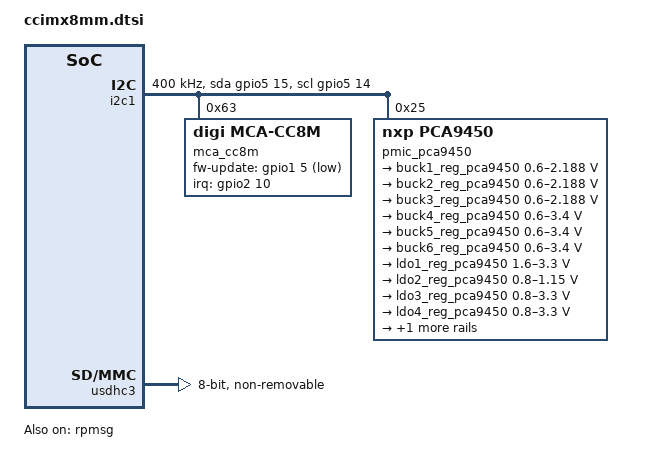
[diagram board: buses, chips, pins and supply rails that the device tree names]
/*
 * Copyright 2021, Digi International Inc.
 *
 * Permission to use, copy, modify, and/or distribute this software for any
 * purpose with or without fee is hereby granted, provided that the above
 * copyright notice and this permission notice appear in all copies.
 * THE SOFTWARE IS PROVIDED "AS IS" AND THE AUTHOR DISCLAIMS ALL WARRANTIES
 * WITH REGARD TO THIS SOFTWARE INCLUDING ALL IMPLIED WARRANTIES OF
 * MERCHANTABILITY AND FITNESS. IN NO EVENT SHALL THE AUTHOR BE LIABLE FOR
 * ANY SPECIAL, DIRECT, INDIRECT, OR CONSEQUENTIAL DAMAGES OR ANY DAMAGES
 * WHATSOEVER RESULTING FROM LOSS OF USE, DATA OR PROFITS, WHETHER IN AN
 * ACTION OF CONTRACT, NEGLIGENCE OR OTHER TORTIOUS ACTION, ARISING OUT OF
 * OR IN CONNECTION WITH THE USE OR PERFORMANCE OF THIS SOFTWARE.
 */

/ {
	aliases {
		i2c1 = &i2c1;
		i2c2 = &i2c2;
		i2c3 = &i2c3;
		i2c4 = &i2c4;
		mmc0 = &usdhc3;
		mmc1 = &usdhc2;
		mmc2 = &usdhc1;
	};

	/* Bluetooth, disabled by default */
	bluetooth: bluetooth {
		/* U-Boot will fill in the MAC address here */
		compatible = "digi,bluetooth-cc8x";
		vin-supply = <&reg_rf_bt_en>;
		status = "disabled";
	};

	caam_keyblob: caam-keyblob {
		compatible = "fsl,sec-v4.0-keyblob";
	};

	/* Wifi/Bluetooth regulators, disabled by default */
	regulators {
		compatible = "simple-bus";
		#address-cells = <1>;
		#size-cells = <0>;

		reg_3v3_rf: regulator-som@1 {
			compatible = "regulator-fixed";
			reg = <1>;
			pinctrl-names = "default";
			pinctrl-0 = <&pinctrl_reg_3v3_rf>;
			regulator-name = "3v3_rf";
			regulator-min-microvolt = <3300000>;
			regulator-max-microvolt = <3300000>;
			gpio = <&gpio2 6 GPIO_ACTIVE_HIGH>; /* 3V3_RF_EN */
			enable-active-high;
			startup-delay-us = <100000>;
			status = "disabled";
		};

		reg_rf_wl_en: regulator-som@2 {
			compatible = "regulator-fixed";
			reg = <2>;
			pinctrl-names = "default", "sleep";
			pinctrl-0 = <&pinctrl_reg_rf_wl_en>;
			pinctrl-1 = <&pinctrl_reg_rf_wl_en_sleep>;
			regulator-name = "rf_wl_en";
			regulator-min-microvolt = <3300000>;
			regulator-max-microvolt = <3300000>;
			gpio = <&gpio2 9 GPIO_ACTIVE_HIGH>; /* WL_EN */
			enable-active-high;
			startup-delay-us = <100>;
			vin-supply = <&reg_3v3_rf>;
			status = "disabled";
		};

		reg_rf_bt_en: regulator-som@3 {
			compatible = "regulator-fixed";
			reg = <3>;
			pinctrl-names = "default", "sleep";
			pinctrl-0 = <&pinctrl_reg_rf_bt_en>;
			pinctrl-1 = <&pinctrl_reg_rf_bt_en_sleep>;
			regulator-name = "rf_bt_en";
			regulator-min-microvolt = <3300000>;
			regulator-max-microvolt = <3300000>;
			gpio = <&gpio2 8 GPIO_ACTIVE_HIGH>; /* BT_EN */
			enable-active-high;
			startup-delay-us = <100>;
			vin-supply = <&reg_3v3_rf>;
			status = "disabled";
		};
	};

	reserved-memory {
		linux,cma {
			digi,size-table = <
				/* RAM         CMA*/
				0 0x20000000 0 0x6000000	/* 512 MB variants -> 96 MB of CMA */
				0 0x40000000 0 0x14000000	/* 1 GB variants   -> 320 MB of CMA */
				0 0x80000000 0 0x28000000	/* 2 GB variants   -> 640 MB of CMA */
			>;
		};
	};
};

&A53_0 {
	arm-supply = <&buck2_reg_pca9450>;
};

/* I2C1 connected to MCA, PMIC and crypto chip */
&i2c1 {
	assigned-clock-rates = <48000000>;
	clock-frequency = <400000>;
	digi,buffer-time-us = <35>;
	pinctrl-names = "default", "gpio";
	pinctrl-0 = <&pinctrl_i2c1>;
	pinctrl-1 = <&pinctrl_i2c1_gpio>;
	scl-gpios = <&gpio5 14 GPIO_ACTIVE_HIGH>;
	sda-gpios = <&gpio5 15 GPIO_ACTIVE_HIGH>;
	status = "okay";

	mca_cc8m: mca@63 {
		compatible = "digi,mca-cc8m";
		reg = <0x63>;
		interrupt-parent = <&gpio2>;
		interrupts = <10 IRQ_TYPE_LEVEL_HIGH>;
		interrupt-controller;
		#interrupt-cells = <2>;
		fw-update-gpio = <&gpio1 5 GPIO_ACTIVE_LOW>;
		pinctrl-names = "default";
		pinctrl-0 = <&pinctrl_mca_cc8m>;

		mca_adc: adc {
			compatible = "digi,mca-cc8m-adc";
			digi,adc-vref = <3000000>;
		};

		mca_gpio: gpio {
			compatible = "digi,mca-cc8m-gpio";
			gpio-controller;
			#gpio-cells = <2>;

			interrupt-parent = <&mca_cc8m>;
			interrupt-controller;
			#interrupt-cells = <2>;

			/* Disable all mca GPIOs as power off wake up sources */
			pwroff-wakeup-capable-ios = <>;
		};

		pwrkey {
			compatible = "digi,mca-cc8m-pwrkey";
			digi,key-power;
			digi,key-power-up;
			digi,key-sleep;
			digi,debounce-ms = <100>;
			digi,pwroff-delay-sec = <6>;
			digi,pwroff-guard-sec = <30>;
		};

		rtc {
			compatible = "digi,mca-cc8m-rtc";
		};

		wdt {
			compatible = "digi,mca-cc8m-wdt";
			digi,full-reset;
		};

		gpio_wdt: gpio-wdt {
			compatible = "digi,mca-cc8m-gpio-wdt";
			status = "disabled";

			gpio_wdt0: gpio-wdt@0x210 {
				status = "disabled";
			};

			gpio_wdt1: gpio-wdt@0x220 {
				status = "disabled";
			};

			gpio_wdt2: gpio-wdt@0x230 {
				status = "disabled";
			};

			gpio_wdt3: gpio-wdt@0x240 {
				status = "disabled";
			};
		};

		pwms {
			compatible = "digi,mca-pwm";
			#address-cells = <1>;
			#size-cells = <0>;

			mca_pwm0: pwm@0 {
				reg = <0>;
				pwm-channels = <6>;
				#pwm-cells = <3>;
			};
		};

		mca_tamper: tamper {
			compatible = "digi,mca-cc8m-tamper";
		};

		mca_uart: uart {
			compatible = "digi,mca-cc8m-uart";
			#address-cells = <1>;
			#size-cells = <0>;
			status = "disabled";

			mca_uart0: serial@0x900 {
				reg = <0x900>;
				index = <0>;
				status = "disabled";
			};

			mca_uart1: serial@0x920 {
				reg = <0x920>;
				index = <1>;
				status = "disabled";
			};

			mca_uart2: serial@0x940 {
				reg = <0x940>;
				index = <2>;
				status = "disabled";
			};
		};

		mca_keypad: keypad {
			compatible = "digi,mca-keypad";
			status = "disabled";
		};

		mca_led: led {
			compatible = "digi,mca-led";
			status = "disabled";
		};
	};

	/* NXP PCA9450 PMIC */
	pmic_pca9450: pca9450@25 {
		reg = <0x25>;
		compatible = "nxp,pca9450";
		status = "okay";

		pca9450,pmic-buck1-uses-i2c-dvs;
		/* Run/Standby voltage */
		pca9450,pmic-buck1-dvs-voltage = <950000>, <850000>;

		regulators {
			#address-cells = <1>;
			#size-cells = <0>;

			buck1_reg_pca9450: regulator@0 {
				reg = <0>;
				regulator-compatible = "buck1";
				regulator-min-microvolt = <600000>;
				regulator-max-microvolt = <2187500>;
				regulator-boot-on;
				regulator-always-on;
				regulator-ramp-delay = <3125>;
			};

			buck2_reg_pca9450: regulator@1 {
				reg = <1>;
				regulator-compatible = "buck2";
				regulator-min-microvolt = <600000>;
				regulator-max-microvolt = <2187500>;
				regulator-boot-on;
				regulator-always-on;
				regulator-ramp-delay = <3125>;
				regulator-state-mem {
					regulator-off-in-suspend;
				};
			};

			buck3_reg_pca9450: regulator@2 {
				reg = <2>;
				regulator-compatible = "buck3";
				regulator-min-microvolt = <600000>;
				regulator-max-microvolt = <2187500>;
				regulator-boot-on;
				regulator-always-on;
				regulator-state-mem {
					regulator-off-in-suspend;
				};
			};

			buck4_reg_pca9450: regulator@3 {
				reg = <3>;
				regulator-compatible = "buck4";
				regulator-min-microvolt = <600000>;
				regulator-max-microvolt = <3400000>;
				regulator-boot-on;
				regulator-always-on;
			};

			buck5_reg_pca9450: regulator@4 {
				reg = <4>;
				regulator-compatible = "buck5";
				regulator-min-microvolt = <600000>;
				regulator-max-microvolt = <3400000>;
				regulator-boot-on;
				regulator-always-on;
			};

			buck6_reg_pca9450: regulator@5 {
				reg = <5>;
				regulator-compatible = "buck6";
				regulator-min-microvolt = <600000>;
				regulator-max-microvolt = <3400000>;
				regulator-boot-on;
				regulator-always-on;
			};

			ldo1_reg_pca9450: regulator@6 {
				reg = <6>;
				regulator-compatible = "ldo1";
				regulator-min-microvolt = <1600000>;
				regulator-max-microvolt = <3300000>;
				regulator-boot-on;
				regulator-always-on;
			};

			ldo2_reg_pca9450: regulator@7 {
				reg = <7>;
				regulator-compatible = "ldo2";
				regulator-min-microvolt = <800000>;
				regulator-max-microvolt = <1150000>;
				regulator-boot-on;
				regulator-always-on;
			};

			ldo3_reg_pca9450: regulator@8 {
				reg = <8>;
				regulator-compatible = "ldo3";
				regulator-min-microvolt = <800000>;
				regulator-max-microvolt = <3300000>;
				regulator-boot-on;
				regulator-always-on;
				regulator-state-mem {
					regulator-off-in-suspend;
				};
			};

			ldo4_reg_pca9450: regulator@9 {
				reg = <9>;
				regulator-compatible = "ldo4";
				regulator-min-microvolt = <800000>;
				regulator-max-microvolt = <3300000>;
				regulator-boot-on;
				regulator-always-on;
				regulator-state-mem {
					regulator-off-in-suspend;
				};
			};

			ldo5_reg_pca9450: regulator@10 {
				reg = <10>;
				regulator-compatible = "ldo5";
				regulator-min-microvolt = <1800000>;
				regulator-max-microvolt = <3300000>;
			};
		};
	};
};

&ocotp {
	/* By default, make the OTP bits read-only */
	read-only;
};

&rpmsg{
	/*
	 * 64K for one rpmsg instance:
	 * --0xb8000000~0xb800ffff: pingpong
	 */
	vdev-nums = <1>;
	reg = <0x0 0xb8000000 0x0 0x10000>;
	status = "okay";
};

/* Disable CPU RTC */
&snvs_rtc {
	status = "disabled";
};

/* Disable CPU power key */
&snvs_pwrkey {
	status = "disabled";
};

/* UART2 (Bluetooth), disabled by default */
&uart2 {
	pinctrl-names = "default", "sleep";
	pinctrl-0 = <&pinctrl_uart2>;
	pinctrl-1 = <&pinctrl_uart2_sleep>;
	assigned-clocks = <&clk IMX8MM_CLK_UART2>;
	assigned-clock-parents = <&clk IMX8MM_SYS_PLL1_80M>;
	fsl,uart-has-rtscts;
	status = "disabled";
};

/* USDHC1 (Wireless), disabled by default */
&usdhc1 {
	pinctrl-names = "default", "state_100mhz", "state_200mhz", "sleep";
	pinctrl-0 = <&pinctrl_usdhc1>;
	pinctrl-1 = <&pinctrl_usdhc1_100mhz>;
	pinctrl-2 = <&pinctrl_usdhc1_200mhz>;
	pinctrl-3 = <&pinctrl_usdhc1_sleep>;
	non-removable;
	bus-width = <4>;
	vmmc-supply = <&reg_rf_wl_en>;
	status = "disabled";
};

/* eMMC */
&usdhc3 {
	pinctrl-names = "default", "state_100mhz", "state_200mhz";
	pinctrl-0 = <&pinctrl_usdhc3>;
	pinctrl-1 = <&pinctrl_usdhc3_100mhz>;
	pinctrl-2 = <&pinctrl_usdhc3_200mhz>;
	bus-width = <8>;
	non-removable;
	status = "okay";
};

/* IOMUX */
&iomuxc {
	/* Internal I2C (MCA, Crypto chip) */
	pinctrl_i2c1: i2c1grp {
		fsl,pins = <
			MX8MM_IOMUXC_I2C1_SCL_I2C1_SCL			0x400001c3
			MX8MM_IOMUXC_I2C1_SDA_I2C1_SDA			0x400001c3
		>;
	};

	pinctrl_i2c1_gpio: i2c1grp-gpio {
		fsl,pins = <
			MX8MM_IOMUXC_I2C1_SCL_GPIO5_IO14		0x1c3
			MX8MM_IOMUXC_I2C1_SDA_GPIO5_IO15		0x1c3
		>;
	};

	/* MCA pinctrl */
	pinctrl_mca_cc8m: mcagrp {
		fsl,pins = <
			/* MCA_nINT */
			MX8MM_IOMUXC_SD1_RESET_B_GPIO2_IO10	0x56
			/* MCA_FW_UPDATE */
			MX8MM_IOMUXC_GPIO1_IO05_GPIO1_IO5	0x16
		>;
	};

	/* 3V3_RF regulator pinctrl */
	pinctrl_reg_3v3_rf: reg_3v3_rf_grp {
		fsl,pins = <
			/* Voltage for RF domain (3V3_RF_EN) */
			MX8MM_IOMUXC_SD1_DATA4_GPIO2_IO6		0x41
		>;
	};

	pinctrl_reg_rf_wl_en: reg_rf_wl_en_grp {
		fsl,pins = <
			/* Wireless enable (WL_EN) */
			MX8MM_IOMUXC_SD1_DATA7_GPIO2_IO9		0x41
		>;
	};

	pinctrl_reg_rf_wl_en_sleep: reg_rf_wl_en_grp_sleep {
		fsl,pins = <
			/* Wireless enable (WL_EN) Open drain */
			MX8MM_IOMUXC_SD1_DATA7_GPIO2_IO9		0x21
		>;
	};

	pinctrl_reg_rf_bt_en: reg_rf_bt_en_grp {
		fsl,pins = <
			/* Bluetooth enable (BT_EN) */
			MX8MM_IOMUXC_SD1_DATA6_GPIO2_IO8		0x41
		>;
	};

	pinctrl_reg_rf_bt_en_sleep: reg_rf_bt_en_grp_sleep {
		fsl,pins = <
			/* Bluetooth enable (BT_EN) Open drain */
			MX8MM_IOMUXC_SD1_DATA6_GPIO2_IO8		0x21
		>;
	};

	/* UART2 (Bluetooth) */
	pinctrl_uart2: uart2grp {
		fsl,pins = <
			MX8MM_IOMUXC_SAI3_TXC_UART2_DCE_TX		0x140
			MX8MM_IOMUXC_SAI3_TXFS_UART2_DCE_RX		0x140
			MX8MM_IOMUXC_SAI3_RXD_UART2_DCE_RTS_B	0x140
			MX8MM_IOMUXC_SAI3_RXC_UART2_DCE_CTS_B	0x140
		>;
	};

	pinctrl_uart2_sleep: uart2grp_sleep {
		fsl,pins = <
			MX8MM_IOMUXC_SAI3_TXC_GPIO5_IO0		0x020
			MX8MM_IOMUXC_SAI3_TXFS_GPIO4_IO31		0x020
			MX8MM_IOMUXC_SAI3_RXD_GPIO4_IO30	0x020
			MX8MM_IOMUXC_SAI3_RXC_GPIO4_IO29	0x020
		>;
	};

	/* USDHC1 (Wireless) */
	pinctrl_usdhc1: usdhc1grp {
		fsl,pins = <
			MX8MM_IOMUXC_SD1_CLK_USDHC1_CLK		0x190
			MX8MM_IOMUXC_SD1_CMD_USDHC1_CMD		0x1d0
			MX8MM_IOMUXC_SD1_DATA0_USDHC1_DATA0	0x1d0
			MX8MM_IOMUXC_SD1_DATA1_USDHC1_DATA1	0x1d0
			MX8MM_IOMUXC_SD1_DATA2_USDHC1_DATA2	0x1d0
			MX8MM_IOMUXC_SD1_DATA3_USDHC1_DATA3	0x1d0
		>;
	};

	pinctrl_usdhc1_100mhz: usdhc1grp100mhz {
		fsl,pins = <
			MX8MM_IOMUXC_SD1_CLK_USDHC1_CLK		0x194
			MX8MM_IOMUXC_SD1_CMD_USDHC1_CMD		0x1d4
			MX8MM_IOMUXC_SD1_DATA0_USDHC1_DATA0	0x1d4
			MX8MM_IOMUXC_SD1_DATA1_USDHC1_DATA1	0x1d4
			MX8MM_IOMUXC_SD1_DATA2_USDHC1_DATA2	0x1d4
			MX8MM_IOMUXC_SD1_DATA3_USDHC1_DATA3	0x1d4
		>;
	};

	pinctrl_usdhc1_200mhz: usdhc1grp200mhz {
		fsl,pins = <
			MX8MM_IOMUXC_SD1_CLK_USDHC1_CLK		0x196
			MX8MM_IOMUXC_SD1_CMD_USDHC1_CMD		0x1d6
			MX8MM_IOMUXC_SD1_DATA0_USDHC1_DATA0	0x1d6
			MX8MM_IOMUXC_SD1_DATA1_USDHC1_DATA1	0x1d6
			MX8MM_IOMUXC_SD1_DATA2_USDHC1_DATA2	0x1d6
			MX8MM_IOMUXC_SD1_DATA3_USDHC1_DATA3	0x1d6
		>;
	};

	pinctrl_usdhc1_sleep: usdhc1grp_sleep {
		fsl,pins = <
			MX8MM_IOMUXC_SD1_CLK_GPIO2_IO0		0x020
			MX8MM_IOMUXC_SD1_CMD_GPIO2_IO1		0x020
			MX8MM_IOMUXC_SD1_DATA0_GPIO2_IO2	0x020
			MX8MM_IOMUXC_SD1_DATA1_GPIO2_IO3	0x020
			MX8MM_IOMUXC_SD1_DATA2_GPIO2_IO4	0x020
			MX8MM_IOMUXC_SD1_DATA3_GPIO2_IO5	0x020
		>;
	};

	/* eMMC */
	pinctrl_usdhc3: usdhc3grp {
		fsl,pins = <
			MX8MM_IOMUXC_NAND_WE_B_USDHC3_CLK		0x190
			MX8MM_IOMUXC_NAND_WP_B_USDHC3_CMD		0x1d0
			MX8MM_IOMUXC_NAND_DATA04_USDHC3_DATA0		0x1d0
			MX8MM_IOMUXC_NAND_DATA05_USDHC3_DATA1		0x1d0
			MX8MM_IOMUXC_NAND_DATA06_USDHC3_DATA2		0x1d0
			MX8MM_IOMUXC_NAND_DATA07_USDHC3_DATA3		0x1d0
			MX8MM_IOMUXC_NAND_RE_B_USDHC3_DATA4		0x1d0
			MX8MM_IOMUXC_NAND_CE2_B_USDHC3_DATA5		0x1d0
			MX8MM_IOMUXC_NAND_CE3_B_USDHC3_DATA6		0x1d0
			MX8MM_IOMUXC_NAND_CLE_USDHC3_DATA7		0x1d0
			MX8MM_IOMUXC_NAND_CE1_B_USDHC3_STROBE 		0x190
		>;
	};

	pinctrl_usdhc3_100mhz: usdhc3grp100mhz {
		fsl,pins = <
			MX8MM_IOMUXC_NAND_WE_B_USDHC3_CLK		0x194
			MX8MM_IOMUXC_NAND_WP_B_USDHC3_CMD		0x1d4
			MX8MM_IOMUXC_NAND_DATA04_USDHC3_DATA0		0x1d4
			MX8MM_IOMUXC_NAND_DATA05_USDHC3_DATA1		0x1d4
			MX8MM_IOMUXC_NAND_DATA06_USDHC3_DATA2		0x1d4
			MX8MM_IOMUXC_NAND_DATA07_USDHC3_DATA3		0x1d4
			MX8MM_IOMUXC_NAND_RE_B_USDHC3_DATA4		0x1d4
			MX8MM_IOMUXC_NAND_CE2_B_USDHC3_DATA5		0x1d4
			MX8MM_IOMUXC_NAND_CE3_B_USDHC3_DATA6		0x1d4
			MX8MM_IOMUXC_NAND_CLE_USDHC3_DATA7		0x1d4
			MX8MM_IOMUXC_NAND_CE1_B_USDHC3_STROBE 		0x194
		>;
	};

	pinctrl_usdhc3_200mhz: usdhc3grp200mhz {
		fsl,pins = <
			MX8MM_IOMUXC_NAND_WE_B_USDHC3_CLK		0x196
			MX8MM_IOMUXC_NAND_WP_B_USDHC3_CMD		0x1d6
			MX8MM_IOMUXC_NAND_DATA04_USDHC3_DATA0		0x1d6
			MX8MM_IOMUXC_NAND_DATA05_USDHC3_DATA1		0x1d6
			MX8MM_IOMUXC_NAND_DATA06_USDHC3_DATA2		0x1d6
			MX8MM_IOMUXC_NAND_DATA07_USDHC3_DATA3		0x1d6
			MX8MM_IOMUXC_NAND_RE_B_USDHC3_DATA4		0x1d6
			MX8MM_IOMUXC_NAND_CE2_B_USDHC3_DATA5		0x1d6
			MX8MM_IOMUXC_NAND_CE3_B_USDHC3_DATA6		0x1d6
			MX8MM_IOMUXC_NAND_CLE_USDHC3_DATA7		0x1d6
			MX8MM_IOMUXC_NAND_CE1_B_USDHC3_STROBE 		0x196
		>;
	};
};
